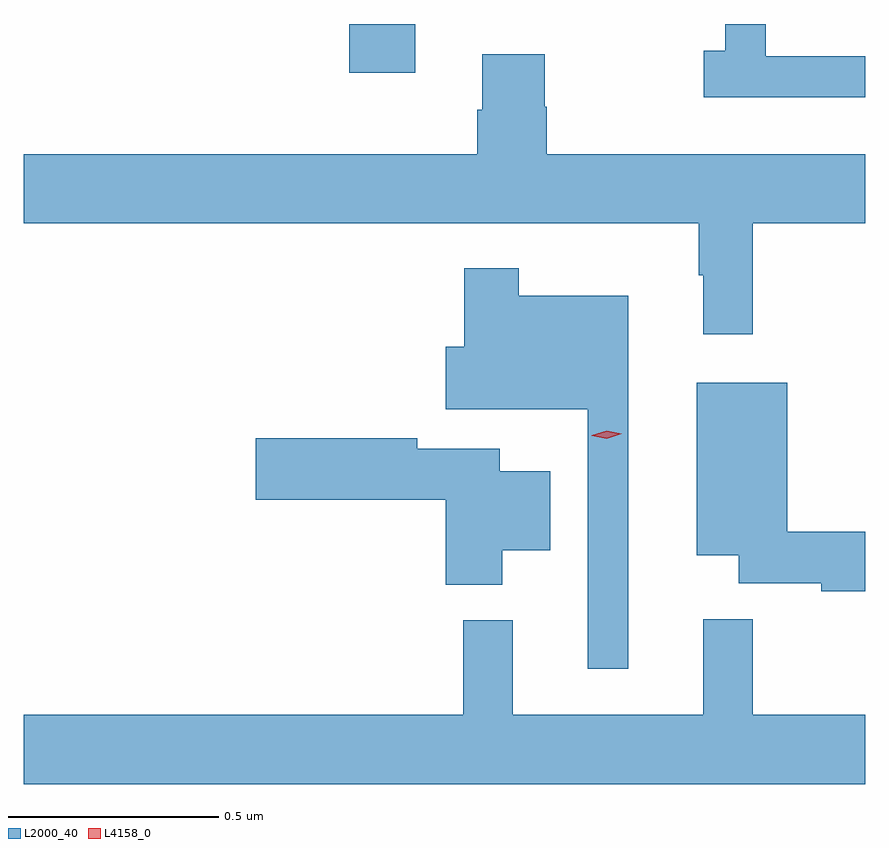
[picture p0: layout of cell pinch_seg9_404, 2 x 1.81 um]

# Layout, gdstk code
import gdstk
lib = gdstk.Library(unit=1e-6, precision=1e-09)
def R(c, l, rs):  # rectangles x0, y0, x1, y1
    for r in rs: c.add(gdstk.rectangle(r[:2], r[2:], *l))
def P(c, l, *ps):  # polygons
    for p in ps: c.add(gdstk.Polygon(p, *l))
L2000_40 = (2000, 40)
L4158_0 = (4158, 0)

pinch_seg9_404 = lib.new_cell('pinch_seg9_404')
R(pinch_seg9_404, L2000_40, [(326.065,1231.41,326.221,1231.526)])
P(pinch_seg9_404, L2000_40, [(327.291,1231.449),(327.054,1231.449),(327.054,1231.526),(326.958,1231.526),(326.958,1231.462),(326.907,1231.462),(326.907,1231.352),(327.291,1231.352)],
  [(327.023,1231.052),(327.291,1231.052),(327.291,1231.216),(326.534,1231.216),(326.534,1231.329),(326.529,1231.329),(326.529,1231.454),(326.381,1231.454),(326.381,1231.322),(326.369,1231.322),(326.369,1231.216),(325.291,1231.216),(325.291,1231.052),(326.895,1231.052),(326.895,1230.929),(326.906,1230.929),(326.906,1230.789),(327.023,1230.789)],
  [(326.728,1230.88),(326.467,1230.88),(326.467,1230.946),(326.338,1230.946),(326.338,1230.759),(326.294,1230.759),(326.294,1230.611),(326.631,1230.611),(326.631,1229.994),(326.728,1229.994)],
  [(327.291,1230.32),(327.106,1230.32),(327.106,1230.673),(326.891,1230.673),(326.891,1230.263),(326.99,1230.263),(326.99,1230.197),(327.186,1230.197),(327.186,1230.178),(327.291,1230.178)],
  [(326.428,1230.275),(326.542,1230.275),(326.542,1230.463),(326.422,1230.463),(326.422,1230.517),(326.226,1230.517),(326.226,1230.542),(325.842,1230.542),(325.842,1230.395),(326.294,1230.395),(326.294,1230.194),(326.428,1230.194)],
  [(327.291,1229.884),(327.023,1229.884),(327.023,1230.112),(326.906,1230.112),(326.906,1229.884),(326.453,1229.884),(326.453,1230.109),(326.335,1230.109),(326.335,1229.884),(325.291,1229.884),(325.291,1229.72),(327.291,1229.72)])
P(pinch_seg9_404, L4158_0, [(326.677,1230.54),(326.641,1230.548),(326.641,1230.549),(326.641,1230.549),(326.676,1230.56),(326.712,1230.552),(326.712,1230.552),(326.712,1230.552)])

lib.write_gds('pinch_seg9_404.gds')
